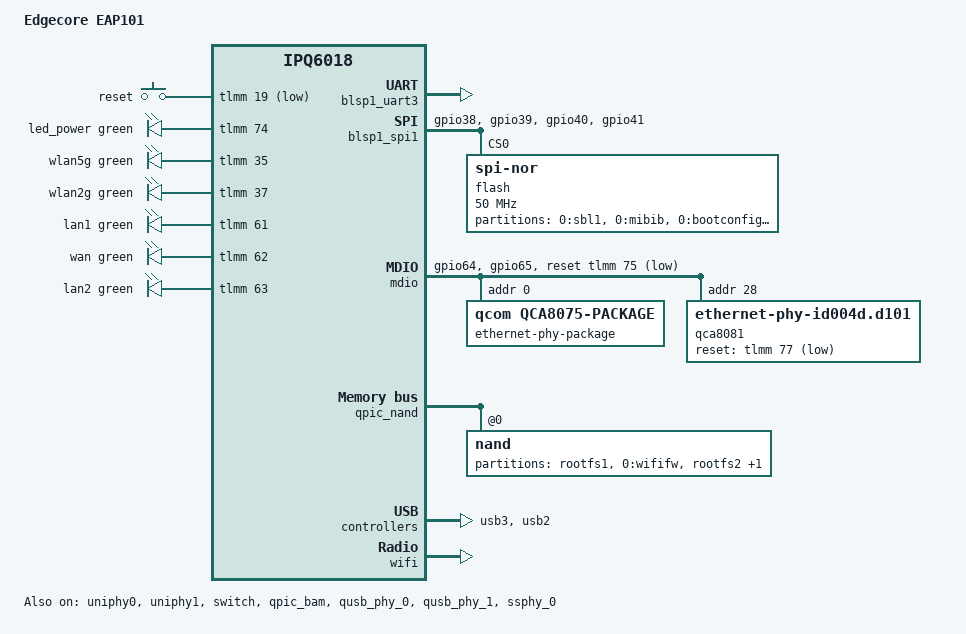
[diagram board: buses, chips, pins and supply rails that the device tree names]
// SPDX-License-Identifier: GPL-2.0-or-later OR MIT

/dts-v1/;

#include "ipq6018.dtsi"
#include "ipq6018-cp-cpu.dtsi"
#include "ipq6018-ess-cleanup.dtsi"
#include <dt-bindings/gpio/gpio.h>
#include <dt-bindings/input/input.h>
#include <dt-bindings/leds/common.h>

/ {
	model = "Edgecore EAP101";
	compatible = "edgecore,eap101", "qcom,ipq6018";

	aliases {
		serial0 = &blsp1_uart3;
		ethernet0 = &wan;
		ethernet1 = &lan1;
		ethernet2 = &lan2;
		led-boot = &led_power;
		led-failsafe = &led_power;
		led-running = &led_power;
		led-upgrade = &led_power;
	};

	chosen {
		stdout-path = "serial0:115200n8";
		bootargs-append = " root=/dev/ubiblock0_1";
	};

	keys {
		compatible = "gpio-keys";
		pinctrl-0 = <&button_pins>;
		pinctrl-names = "default";

		reset {
			label = "reset";
			gpios = <&tlmm 19 GPIO_ACTIVE_LOW>;
			linux,code = <KEY_RESTART>;
		};
	};

	leds {
		compatible = "gpio-leds";
		pinctrl-0 = <&leds_pins>;
		pinctrl-names = "default";

		led_power: power {
			color = <LED_COLOR_ID_GREEN>;
			function = LED_FUNCTION_POWER;
			gpios = <&tlmm 74 GPIO_ACTIVE_HIGH>;
		};

		wlan5g {
			color = <LED_COLOR_ID_GREEN>;
			function = LED_FUNCTION_WLAN_5GHZ;
			gpios = <&tlmm 35 GPIO_ACTIVE_HIGH>;
		};

		wlan2g {
			color = <LED_COLOR_ID_GREEN>;
			function = LED_FUNCTION_WLAN_2GHZ;
			gpios = <&tlmm 37 GPIO_ACTIVE_HIGH>;
		};

		lan1 {
			color = <LED_COLOR_ID_GREEN>;
			function = LED_FUNCTION_LAN;
			function-enumerator = <1>;
			gpios = <&tlmm 61 GPIO_ACTIVE_HIGH>;
		};

		wan {
			color = <LED_COLOR_ID_GREEN>;
			function = LED_FUNCTION_WAN;
			gpios = <&tlmm 62 GPIO_ACTIVE_HIGH>;
		};

		lan2 {
			color = <LED_COLOR_ID_GREEN>;
			function = LED_FUNCTION_LAN;
			function-enumerator = <2>;
			gpios = <&tlmm 63 GPIO_ACTIVE_HIGH>;
		};
	};
};

&tlmm {
	button_pins: button-pins {
		pins = "gpio19";
		function = "gpio";
		drive-strength = <8>;
		bias-pull-up;
	};

	mdio_pins: mdio-pins {
		mdc {
			pins = "gpio64";
			function = "mdc";
			drive-strength = <8>;
			bias-pull-up;
		};

		mdio {
			pins = "gpio65";
			function = "mdio";
			drive-strength = <8>;
			bias-pull-up;
		};
	};

	leds_pins: leds-pins {
		pins = "gpio35", "gpio37", "gpio61", "gpio62",
		       "gpio63", "gpio74";
		function = "gpio";
		drive-strength = <8>;
		bias-pull-down;
	};

	spi_0_pins: spi-0-pins {
		pins = "gpio38", "gpio39", "gpio40", "gpio41";
		function = "blsp0_spi";
		drive-strength = <8>;
		bias-pull-down;
	};
};

&blsp1_uart3 {
	pinctrl-0 = <&serial_3_pins>;
	pinctrl-names = "default";
	status = "okay";
};

&blsp1_spi1 {
	pinctrl-0 = <&spi_0_pins>;
	pinctrl-names = "default";
	status = "okay";

	flash@0 {
		reg = <0>;
		compatible = "jedec,spi-nor";
		spi-max-frequency = <50000000>;

		partitions {
			compatible = "fixed-partitions";
			#address-cells = <1>;
			#size-cells = <1>;

			partition@0 {
				label = "0:sbl1";
				reg = <0x00000000 0x000c0000>;
				read-only;
			};

			partition@c0000 {
				label = "0:mibib";
				reg = <0x000c0000 0x00010000>;
				read-only;
			};

			partition@d0000 {
				label = "0:bootconfig";
				reg = <0x000d0000 0x00020000>;
				read-only;
			};

			partition@f0000 {
				label = "0:bootconfig1";
				reg = <0x000f0000 0x00020000>;
				read-only;
			};

			partition@110000 {
				label = "0:qsee";
				reg = <0x00110000 0x001a0000>;
				read-only;
			};

			partition@2b0000 {
				label = "0:qsee_1";
				reg = <0x002b0000 0x001a0000>;
				read-only;
			};

			partition@450000 {
				label = "0:devcfg";
				reg = <0x00450000 0x00010000>;
				read-only;
			};

			partition@460000 {
				label = "0:devcfg_1";
				reg = <0x00460000 0x00010000>;
				read-only;
			};

			partition@470000 {
				label = "0:rpm";
				reg = <0x00470000 0x00040000>;
				read-only;
			};

			partition@4b0000 {
				label = "0:rpm_1";
				reg = <0x004b0000 0x00040000>;
				read-only;
			};

			partition@4f0000 {
				label = "0:cdt";
				reg = <0x004f0000 0x00010000>;
				read-only;
			};

			partition@500000 {
				label = "0:cdt_1";
				reg = <0x00500000 0x00010000>;
				read-only;
			};

			partition@510000 {
				label = "0:appsblenv";
				reg = <0x00510000 0x00010000>;
			};

			partition@520000 {
				label = "0:appsbl";
				reg = <0x00520000 0x000a0000>;
				read-only;
			};

			partition@5c0000 {
				label = "0:appsbl_1";
				reg = <0x005c0000 0x000a0000>;
				read-only;
			};

			partition@660000 {
				label = "0:art";
				reg = <0x00660000 0x00040000>;
				read-only;
			};
		};
	};
};

&mdio {
	status = "okay";
	pinctrl-0 = <&mdio_pins>;
	pinctrl-names = "default";
	reset-gpios = <&tlmm 75 GPIO_ACTIVE_LOW>;
	reset-delay-us = <10000>;
	reset-post-delay-us = <50000>;

	ethernet-phy-package@0 {
		#address-cells = <1>;
		#size-cells = <0>;
		compatible = "qcom,qca8075-package";
		reg = <0>;

		qcom,package-mode = "psgmii";

		qca8075_3: ethernet-phy@3 {
			compatible = "ethernet-phy-ieee802.3-c22";
			reg = <3>;
		};

		qca8075_4: ethernet-phy@4 {
			compatible = "ethernet-phy-ieee802.3-c22";
			reg = <4>;
		};
	};

	qca8081: ethernet-phy@28 {
		compatible = "ethernet-phy-id004d.d101";
		reg = <28>;
		reset-gpios = <&tlmm 77 GPIO_ACTIVE_LOW>;
		reset-assert-us = <10000>;
		reset-deassert-us = <50000>;
	};
};

&uniphy0 {
	status = "okay";
};

&uniphy1 {
	status = "okay";
};

&switch {
	status = "okay";

	ports {
		#address-cells = <1>;
		#size-cells = <0>;

		port@0 {
			reg = <0>;
			ethernet = <&edma>;
			phy-mode = "internal";

			fixed-link {
				speed = <1000>;
				full-duplex;
			};
		};

		lan2: port@3 {
			reg = <3>;
			label = "lan2";
			phy-handle = <&qca8075_4>;
			phy-mode = "psgmii";
			pcs-handle = <&uniphy0 4>;
		};

		lan1: port@4 {
			reg = <4>;
			label = "lan1";
			phy-handle = <&qca8075_3>;
			phy-mode = "psgmii";
			pcs-handle = <&uniphy0 3>;
		};

		wan: port@5 {
			reg = <5>;
			label = "wan";
			phy-handle = <&qca8081>;
			phy-mode = "sgmii";
			pcs-handle = <&uniphy1 0>;
		};
	};
};

&edma {
	status = "okay";
};

&qpic_bam {
	status = "okay";
};

&qpic_nand {
	status = "okay";

	nand@0 {
		reg = <0>;

		nand-ecc-strength = <8>;
		nand-ecc-step-size = <512>;
		nand-bus-width = <8>;

		partitions {
			compatible = "fixed-partitions";
			#address-cells = <1>;
			#size-cells = <1>;

			partition@0 {
				label = "rootfs1";
				reg = <0x0000000 0x3400000>;
			};

			partition@3400000 {
				label = "0:wififw";
				reg = <0x3400000 0x800000>;
				read-only;
			};

			partition@3c00000 {
				label = "rootfs2";
				reg = <0x3c00000 0x3400000>;
			};

			partition@7000000 {
				label = "0:wififw_1";
				reg = <0x7000000 0x800000>;
				read-only;
			};
		};
	};
};

&qusb_phy_0 {
	status = "okay";
};

&qusb_phy_1 {
	status = "okay";
};

&ssphy_0 {
	status = "okay";
};

&usb3 {
	status = "okay";
};

&usb2 {
	status = "okay";
};

&wifi {
	status = "okay";
	qcom,ath11k-calibration-variant = "Edgecore-EAP101";
	qcom,ath11k-fw-memory-mode = <1>;
};
